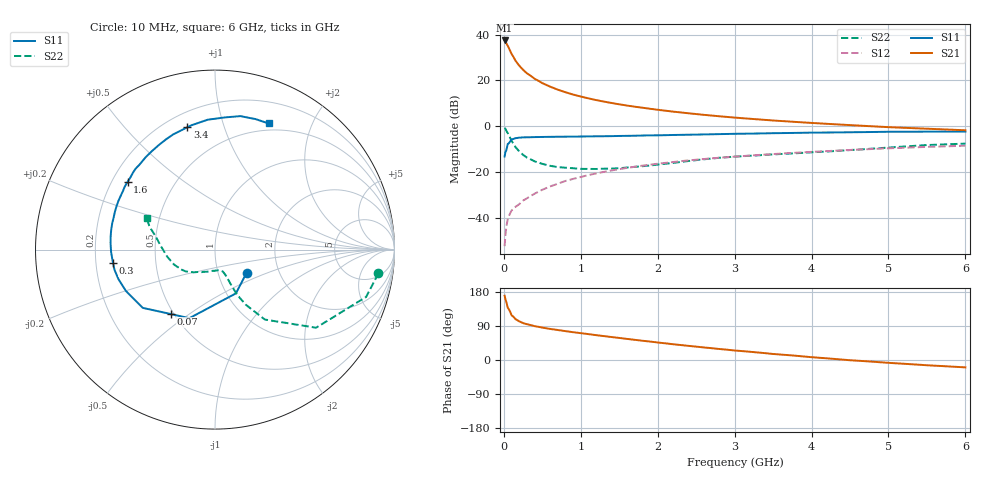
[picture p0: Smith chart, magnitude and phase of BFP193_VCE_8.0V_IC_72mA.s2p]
! Infineon Technologies  Discrete & RF Semiconductors
! BFP193
! VCE =  8.0 V,  IC =  72 mA
! Common Emitter S-Parameters:  Jan 2017
# GHz  S  MA  R  50
!  f  S11  S21  S12  S22
! GHz  MAG  ANG  MAG  ANG  MAG  ANG  MAG  ANG
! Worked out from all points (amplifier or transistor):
!   77 points, 10 MHz to 6 GHz, reference 50 ohm
!   highest |S21| = 37.5 dB at 10 MHz (marker M1)
!   |S21| within 3 dB of that: start of sweep to 60.54 MHz
!   unconditionally stable (mu >= 1): 445.8 MHz to 2.548 GHz
!   at 130 MHz: K = 0.65, MSG = 32.9 dB, |S12| = -35.9 dB
!   at 2.2 GHz: K = 1.02, MAG = 10.2 dB, |S12| = -15.6 dB
!   at 6 GHz: K = 0.91, MSG = 3.4 dB, |S12| = -8.5 dB
!   S11 on the Smith chart (normalised r, x): 10 MHz: 1.37, -0.37; 70 MHz: 0.48, -0.43; 300 MHz: 0.27, -0.06; 1.6 GHz: 0.26, +0.32; 3.4 GHz: 0.28, +0.76; 6 GHz: 0.42, +1.43
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0.01  0.2183 -36.1  74.7 169.7  0.0024 82.4  0.9202 -8.3
0.02  0.2703 -64.5  72.37 160.7  0.0041 80.1  0.8822 -17.4
0.05  0.4079 -110.5  57.38 138.2  0.0093 62.2  0.7117 -37.7
0.07  0.4357 -124.5  49 132.1  0.0113 59.6  0.6128 -42.9
0.1  0.517 -141.1  38.05 118.1  0.0144 57.1  0.4787 -54.5
0.15  0.5473 -155.1  27.23 108.1  0.0173 59.2  0.3522 -60.8
0.2  0.5623 -162.9  21.04 102.0  0.0198 63.1  0.2822 -63.8
0.25  0.5711 -168.6  17.07 97.4  0.0238 63.9  0.237 -64.9
0.3  0.5733 -172.6  14.32 94.4  0.0266 65.7  0.2066 -65.7
0.4  0.5792 -178.8  10.89 89.3  0.0336 68.2  0.1708 -66.5
0.5  0.5831 176.4  8.746 85.5  0.0409 69.3  0.1507 -67.8
0.6  0.5864 172.3  7.337 82.1  0.0483 69.8  0.1368 -69.4
0.7  0.5889 168.9  6.3 79.2  0.0554 70.6  0.1281 -70.9
0.8  0.5912 165.5  5.532 76.2  0.0637 69.6  0.1242 -73.6
1.1  0.5993 156.3  4.059 68.3  0.0859 68.2  0.1168 -83.5
1.6  0.6163 142.2  2.832 55.7  0.1229 62.9  0.1251 -103.8
2.1  0.6377 129.3  2.184 44.0  0.1585 56.8  0.1514 -124.3
3.1  0.6859 108.1  1.499 23.5  0.2226 44.3  0.2212 -151.3
3.4  0.6989 102.7  1.374 18.0  0.2407 40.8  0.2369 -157.8
4.1  0.7266 91.7  1.154 5.9  0.2807 32.5  0.2744 -174.1
5.1  0.7572 77.9  0.939 -8.7  0.3339 20.8  0.3509 165.5
6  0.7638 66.9  0.816 -19.5  0.3754 10.6  0.4173 155.4
